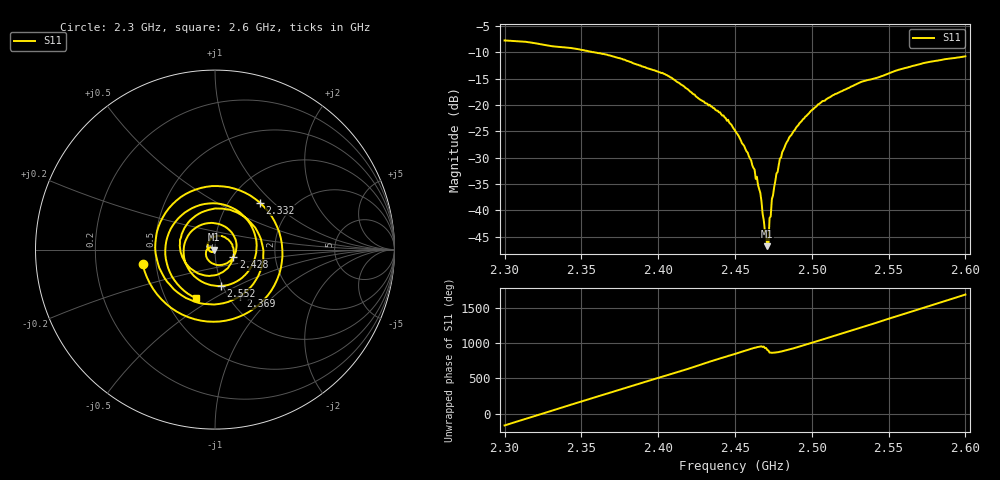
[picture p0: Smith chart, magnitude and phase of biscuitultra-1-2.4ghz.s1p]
! NanoVNA-App
! Date: 2026-05-15 11:40:05
! Start: 2.3GHz Stop: 2.6GHz Points: 401
! S-Parameter data: F S11
# Hz S RI R 50
!  Frequency  S11_Real  S11_Imag
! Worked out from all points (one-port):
!   401 points, 2.3 GHz to 2.6 GHz, reference 50 ohm
!   lowest |S11| = -46.8 dB at 2.471 GHz (marker M1), VSWR 1.01, Z = 49.5 - j0.0274 ohm
!   |S11| at or under -10 dB: 2.359 GHz to end of sweep
!   S11 on the Smith chart (normalised r, x): 2.3 GHz: 0.42, -0.08; 2.332 GHz: 1.38, +0.83; 2.369 GHz: 1.13, -0.64; 2.428 GHz: 1.22, -0.10; 2.552 GHz: 0.98, -0.41; 2.6 GHz: 0.71, -0.42
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2.3e9  -0.4026 -0.0828
2.3075e9  -0.1815 -0.3625
2.3135e9  0.0962 -0.3876
2.3225e9  0.3672 -0.1013
2.3315e9  0.2498 0.262
2.3375e9  0.0147 0.354
2.345e9  -0.2568 0.2307
2.35175e9  -0.3311 -0.0201
2.36075e9  -0.1374 -0.2798
2.369e9  0.1409 -0.2585
2.375e9  0.2593 -0.1026
2.39075e9  0.0225 0.2288
2.402e9  -0.1892 0.0687
2.4125e9  -0.1112 -0.122
2.42825e9  0.103 -0.0409
2.45e9  -0.0339 0.0464
2.46275e9  -0.0203 -0.0136
2.471e9  -0.00456 -0.000277
2.4785e9  -0.024 0.0124
2.4875e9  -0.0504 -0.0201
2.51225e9  0.1193 0.0113
2.525e9  -0.00666 0.1478
2.53925e9  -0.1742 -0.028
2.552e9  0.0315 -0.2027
2.5625e9  0.2247 -0.0379
2.579e9  -0.0591 0.254
2.5895e9  -0.2754 0.0216
2.6e9  -0.1058 -0.2705
